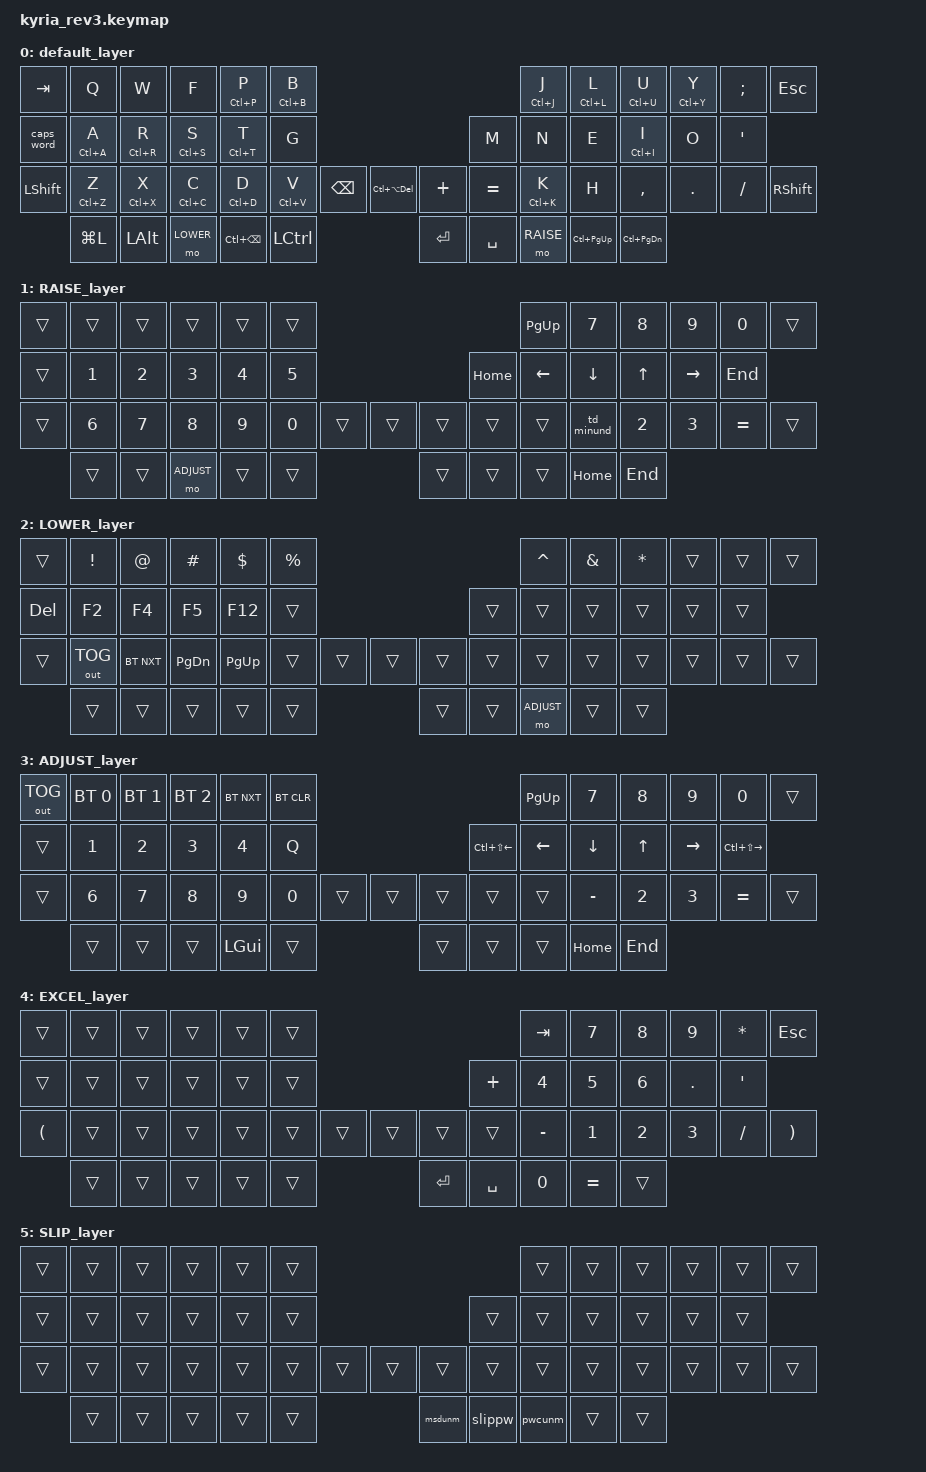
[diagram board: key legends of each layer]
/*
 * Copyright (c) 2020 The ZMK Contributors
 *
 * SPDX-License-Identifier: MIT
 */

#include <behaviors.dtsi>
#include <dt-bindings/zmk/keys.h>
#include <dt-bindings/zmk/bt.h>
#include <dt-bindings/zmk/outputs.h>

#define BASE 0
#define RAISE 1
#define LOWER 2
#define	ADJUST 3
#define EXCEL 4
#define SLIP 5

&mt {
	tapping-term-ms = <200>;
};

/ {
	behaviors {
		td_mtls: tap_dance_triple_brackets_left {
			compatible = "zmk,behavior-tap-dance";
			label = "tap_dance_triple_brackets_left";
			#binding-cells = <0>;
			tapping-term-ms = <200>;
			bindings = <&kp LPAR>, <&kp LBKT>, <&kp LBRC>;
		};
		
		td_mtrs: tap_dance_triple_brackets_right {
			compatible = "zmk,behavior-tap-dance";
			label = "tap_dance_triple_brackets_right";
			#binding-cells = <0>;
			tapping-term-ms = <200>;
			bindings = <&kp RPAR>, <&kp RBKT>, <&kp RBRC>;
		};
		
		td_minund: tap_dance_minus_underscore {
			compatible = "zmk,behavior-tap-dance";
			label = "tap_dance_minus_underscore";
			#binding-cells = <0>;
			tapping-term-ms = <200>;
			bindings = <&kp MINUS>, <&kp UNDER>;
		};

		pht: positional_hold_tap {
			compatible = "zmk,behavior-hold-tap";
			label = "POSITIONAL_HOLD_TAP";
            #binding-cells = <2>;
            flavor = "tap-preferred";
            tapping-term-ms = <200>;
            bindings = <&kp>, <&kp>;
            hold-trigger-key-positions = <13>;
		};
	};

	macros {
		slippw: slippw {
			label = "SLIPPW";
			compatible = "zmk,behavior-macro";
			#binding-cells = <0>;
			wait-ms = <5>;
			tap-ms = <5>;
			bindings
				= <&macro_tap &kp D &kp Y &kp W &kp LS(T) &kp M &kp L &kp M &kp LS(F)>
				; 
		};

		msdunm: msdunm {
			label = "MSDUSERNAME";
			compatible = "zmk,behavior-macro";
			#binding-cells = <0>;
			wait-ms = <5>;
			tap-ms = <5>;
			bindings
				= <&macro_tap &kp R &kp B &kp R &kp O &kp W &kp N0 &kp N4 &kp N6 &kp TAB>
				; 
		};

		pwcunm: pwcu {
			label = "PWCUSERNAME";
			compatible = "zmk,behavior-macro";
			#binding-cells = <0>;
			wait-ms = <5>;
			tap-ms = <5>;
			bindings
				= <&macro_tap &kp R &kp Y &kp A &kp N &kp DOT &kp S &kp DOT &kp B &kp R &kp O &kp W &kp N &kp AT &kp P &kp W &kp C &kp DOT &kp C &kp O &kp M>
				; 
		};
	};

	combos {
		compatible = "zmk,combos";
			combo_leftbrackets {
			timeout-ms = <20>;
			key-positions = <13 14>;
			bindings = <&td_mtls>;
		};

			combo_rightbrackets {
			timeout-ms = <20>;
			key-positions = <21 22>;
			bindings = <&td_mtrs>;
		};

			combo_excellayer {
			timeout-ms = <20>;
			key-positions = <14 15>;
			bindings = <&mo EXCEL>;
		};	

			combo_sliplayer {
			timeout-ms = <20>;
			key-positions = <19 21>;
			layers = <4>;
			bindings = <&mo SLIP>;
		};	

			combo_LGUI {
			timeout-ms = <20>;
			key-positions = <48 49>;
			bindings = <&kp LGUI>;
		};	
	};

	keymap {
		compatible = "zmk,keymap";

		default_layer {
			bindings = <
				&kp TAB &kp Q &kp W &kp F &pht LC(P) P &pht LC(B) B                                                &pht LC(J) J &pht LC(L) L  &pht LC(U) U     &pht LC(Y) Y   &kp SEMI    &kp ESC
				&caps_word &pht LC(A) A &pht LC(R) R &pht LC(S) S &pht LC(T) T &kp G         								&kp M &kp N &kp E     &pht LC(I) I   &kp O &kp SQT
				&kp LSHFT &pht LC(Z) Z &pht LC(X) X &pht LC(C) C &pht LC(D) D &pht LC(V) V &kp BSPC &kp LC(LA(DEL))        &kp PLUS &kp EQUAL &pht LC(K) K &kp H  &kp COMMA &kp DOT &kp FSLH &kp RSHFT
	      					&kp LG(L) &kp LALT &mo LOWER &kp LC(BSPC) &kp LCTRL        &kp ENTER &kp SPACE &mo RAISE &kp LC(PG_UP) &kp LC(PG_DN)
			>;

		};
		
		RAISE_layer {
			bindings = <
				&trans &trans &trans &trans &trans &trans                              &kp PG_UP &kp N7 &kp N8 &kp N9 &kp N0 &trans
				&trans &kp N1 &kp N2 &kp N3 &kp N4 &kp N5                             &kp HOME &kp LEFT &kp DOWN &kp UP &kp RIGHT &kp END
				&trans &kp N6 &kp N7 &kp N8 &kp N9 &kp N0 &trans &trans                       &trans &trans &trans &td_minund &kp N2 &kp N3 &kp EQUAL &trans
				            &trans  &trans   &mo ADJUST        &trans &trans                       &trans &trans    &trans    &kp HOME     &kp END
			>;

		};

		LOWER_layer {
			bindings = <
				&trans &kp EXCL &kp AT &kp HASH &kp DLLR &kp PRCNT                              &kp CARET &kp AMPS &kp ASTRK &trans &trans &trans
				&kp DEL &kp F2 &kp F4 &kp F5 &kp F12 &trans				                        &trans &trans &trans &trans &trans &trans
				&trans &out OUT_TOG &bt BT_NXT &kp PG_DN &kp PG_UP &trans &trans &trans  &trans &trans &trans &trans &trans &trans &trans &trans
	           				&trans  &trans   &trans        &trans &trans  &trans &trans    &mo ADJUST    &trans    &trans
			>;

		};

		ADJUST_layer {
			bindings = <
				&out OUT_TOG &bt BT_SEL 0 &bt BT_SEL 1 &bt BT_SEL 2 &bt BT_NXT &bt BT_CLR                              &kp PG_UP &kp N7 &kp N8 &kp N9 &kp N0 &trans
				&trans &kp N1 &kp N2 &kp N3 &kp N4 &kp Q                             &kp LC(LS(LEFT)) &kp LEFT &kp DOWN &kp UP &kp RIGHT &kp LC(LS(RIGHT))
				&trans &kp N6 &kp N7 &kp N8 &kp N9 &kp N0 &trans &trans                       &trans &trans &trans &kp MINUS &kp N2 &kp N3 &kp EQUAL &trans
				            &trans  &trans   &trans        &kp LGUI &trans                       &trans &trans    &trans    &kp HOME     &kp END
			>;
		};

		EXCEL_layer {
			bindings = <
				&trans &trans &trans &trans &trans &trans                              &kp TAB &kp N7 &kp N8 &kp N9 &kp ASTRK &kp ESC
				&trans &trans &trans &trans &trans &trans                             &kp PLUS &kp N4 &kp N5 &kp N6 &kp DOT &kp SQT
				&kp LPAR &trans &trans &trans &trans &trans &trans &trans                       &trans &trans &kp MINUS &kp N1 &kp N2 &kp N3 &kp FSLH &kp RPAR
				            &trans  &trans   &trans        &trans &trans                       &kp ENTER &kp SPACE    &kp N0    &kp EQUAL     &trans
			>;
		};

		SLIP_layer {
			bindings = <
				&trans &trans &trans &trans &trans &trans                              &trans &trans &trans &trans &trans &trans
				&trans &trans &trans &trans &trans &trans                             &trans &trans &trans &trans &trans &trans
				&trans &trans &trans &trans &trans &trans &trans &trans                       &trans &trans &trans &trans &trans &trans &trans &trans
				            &trans  &trans   &trans        &trans &trans                       &msdunm &slippw    &pwcunm    &trans     &trans
			>;
		};
	};
};
